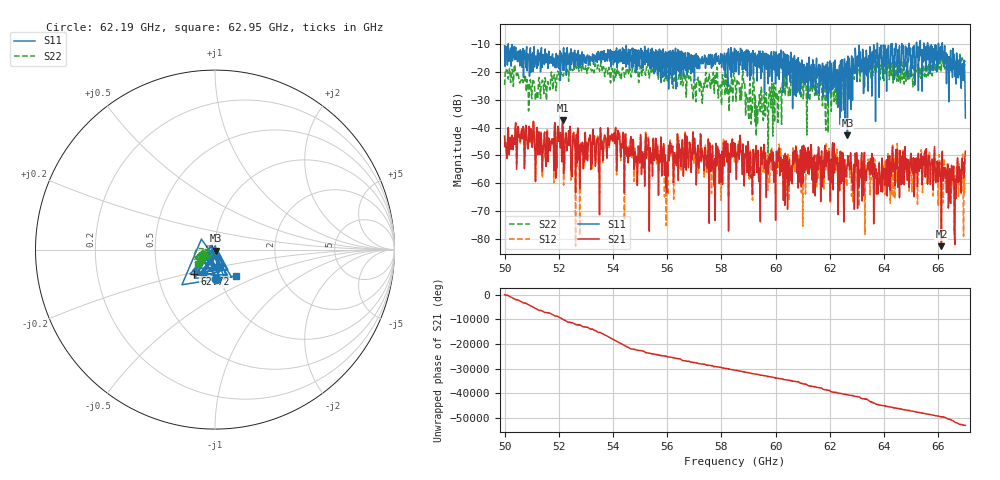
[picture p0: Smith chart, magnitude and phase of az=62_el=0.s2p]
!Created with skrf (http://scikit-rf.org).
# GHz S RI R 50.0
!freq ReS11 ImS11 ReS21 ImS21 ReS12 ImS12 ReS22 ImS22
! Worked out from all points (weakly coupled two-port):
!   1001 points, 50 GHz to 67 GHz, reference 50 ohm
!   highest |S21| = -37.42 dB at 52.14 GHz (marker M1); lowest = -82.6 dB at 66.12 GHz (marker M2)
!   lowest |S11| = -42.8 dB at 62.65 GHz (marker M3), VSWR 1.01, Z = 50.4 - j0.593 ohm
!   |S11| at or under -10 dB: 50.14 GHz to 63.75 GHz (13.62 GHz wide, 23.9 % of centre); 63.75 GHz to 64.25 GHz (491.4 MHz wide, 0.768 % of centre); 66.15 GHz to end of sweep (the widest 3 of 14)
!   |S22| runs from -54.4 to -13.7 dB; largest |S21 - S12| = 0.0023
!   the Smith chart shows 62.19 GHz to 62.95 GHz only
!   S11 on the Smith chart (normalised r, x): 62.19 GHz: 0.95, -0.32; 62.72 GHz: 0.77, -0.21; 62.95 GHz: 1.21, -0.37
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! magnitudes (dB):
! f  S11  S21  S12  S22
! 50 GHz  -10.5  -43.1  -42.8  -24.7
! 51.16 GHz  -14.3  -52.3  -51.5  -27.5
! 52.14 GHz  -19.3  -37.4  -37.1  -21.1
! 52.84 GHz  -14.2  -45.8  -45.9  -19.6
! 54.03 GHz  -13.1  -42.0  -42.1  -23.7
! 54.86 GHz  -13.4  -51.5  -51.1  -19.1
! 55.68 GHz  -14.2  -64.3  -56.2  -22.9
! 55.98 GHz  -13.0  -63.3  -60.7  -20.3
! 56.12 GHz  -12.3  -49.4  -50.7  -20.1
! 57.68 GHz  -17.8  -50.7  -50.3  -21.5
! 58.5 GHz  -19.9  -45.7  -47.1  -23.5
! 59.3 GHz  -14.3  -51.6  -51.9  -32.2
! 61.34 GHz  -23.6  -58.8  -56.7  -24.6
! 62.19 GHz  -15.7  -50.6  -49.3  -22.6
! 62.65 GHz  -42.8  -52.9  -51.8  -22.5
! 62.72 GHz  -15.0  -53.2  -52.5  -20.5
! 62.95 GHz  -14.5  -52.2  -51.8  -17.9
! 64.18 GHz  -17.0  -61.1  -55.2  -18.6
! 66.12 GHz  -15.2  -82.6  -77.3  -18.4
! 66.68 GHz  -13.1  -58.2  -54.2  -15.3
! 66.9 GHz  -17.0  -55.2  -49.5  -15.3
! 67 GHz  -36.5  -48.5  -50.1  -15.9
